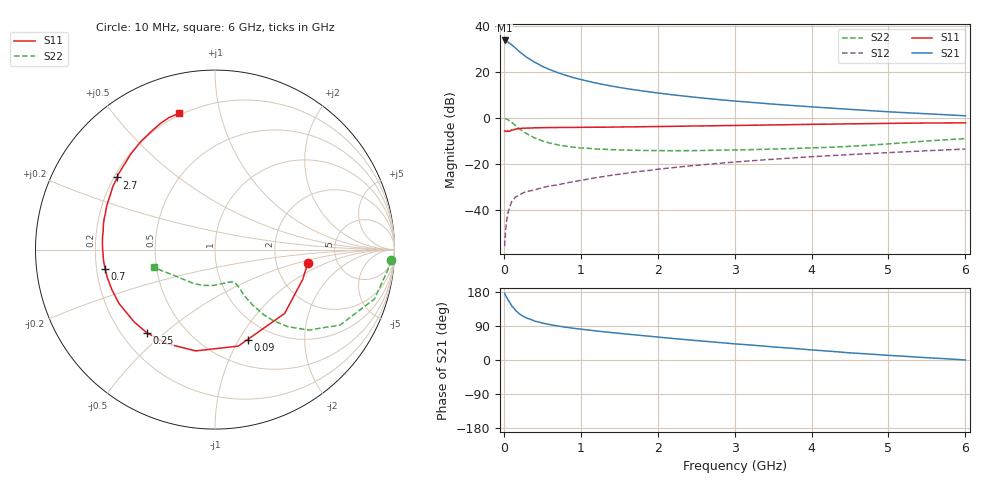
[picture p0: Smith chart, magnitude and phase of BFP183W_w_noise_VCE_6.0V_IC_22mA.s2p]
! Infineon Technologies  Discrete & RF Semiconductors
! BFP183W
! VCE =  6.0 V,  IC =  22 mA
! Common Emitter S-Parameters:  Jan 2017
# GHz  S  MA  R  50
!  f  S11  S21  S12  S22
! GHz  MAG  ANG  MAG  ANG  MAG  ANG  MAG  ANG
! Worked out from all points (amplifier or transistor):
!   77 points, 10 MHz to 6 GHz, reference 50 ohm
!   highest |S21| = 33.9 dB at 10 MHz (marker M1)
!   |S21| within 3 dB of that: start of sweep to 139.8 MHz
!   unconditionally stable (mu >= 1): 1.143 GHz to 3.555 GHz
!   at 130 MHz: K = 0.24, MSG = 33.2 dB, |S12| = -35.3 dB
!   at 2.2 GHz: K = 1.06, MAG = 14.4 dB, |S12| = -21.6 dB
!   at 6 GHz: K = 0.87, MSG = 7.3 dB, |S12| = -13.5 dB
!   lowest NFmin = 1.22 dB at 450 MHz
!   S11 on the Smith chart (normalised r, x): 10 MHz: 3.05, -0.61; 90 MHz: 0.78, -1.09; 250 MHz: 0.30, -0.44; 700 MHz: 0.23, -0.08; 2.7 GHz: 0.21, +0.32; 6 GHz: 0.19, +0.75
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0.01  0.5223 -8.0  49.34 176.2  0.0016 84.6  0.9811 -3.4
0.02  0.5162 -18.8  48.44 171.6  0.003 84.8  0.9681 -7.0
0.05  0.5265 -42.5  46.12 160.1  0.008 76.2  0.9301 -17.2
0.09  0.5331 -70.1  40.98 147.3  0.0133 66.2  0.8328 -28.0
0.1  0.5531 -76.4  40.06 143.6  0.0147 64.8  0.8138 -31.1
0.15  0.5746 -100.8  33.79 131.4  0.0188 54.8  0.6892 -40.6
0.2  0.5886 -117.1  28.45 122.2  0.0208 51.8  0.5898 -46.7
0.25  0.5993 -129.3  24.32 115.4  0.0233 47.4  0.5109 -50.7
0.3  0.6043 -138.2  21.02 110.3  0.025 47.1  0.4505 -53.3
0.4  0.6133 -150.7  16.51 102.8  0.027 46.8  0.3686 -56.0
0.5  0.6165 -158.9  13.46 97.5  0.0303 48.0  0.3178 -57.1
0.6  0.6198 -165.2  11.37 93.3  0.0331 48.4  0.2842 -57.6
0.7  0.6217 -170.0  9.799 89.9  0.0348 50.7  0.2602 -57.5
0.9  0.6243 -177.9  7.67 83.9  0.0408 53.4  0.2322 -58.2
1.1  0.6289 176.0  6.325 79.1  0.0467 56.4  0.2181 -59.1
1.5  0.6387 166.3  4.658 70.4  0.0595 58.3  0.2015 -63.2
2.1  0.6558 153.9  3.366 58.7  0.0795 58.7  0.1941 -74.3
2.7  0.6779 143.6  2.617 47.9  0.0995 57.1  0.1976 -89.4
3.1  0.6915 137.4  2.28 41.2  0.1129 55.3  0.2028 -99.6
4.1  0.7325 123.4  1.712 25.2  0.1464 50.3  0.2259 -125.7
5.1  0.7679 112.6  1.342 11.1  0.1796 44.5  0.2808 -150.8
6  0.7855 104.7  1.122 0.1  0.2108 38.6  0.3557 -164.2
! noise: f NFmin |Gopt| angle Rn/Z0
0.45  1.22  0.22  174  0.1
0.9  1.25  0.26  177  0.09
1.9  1.73  0.41  -161  0.09
2.4  1.96  0.46  -155  0.12
